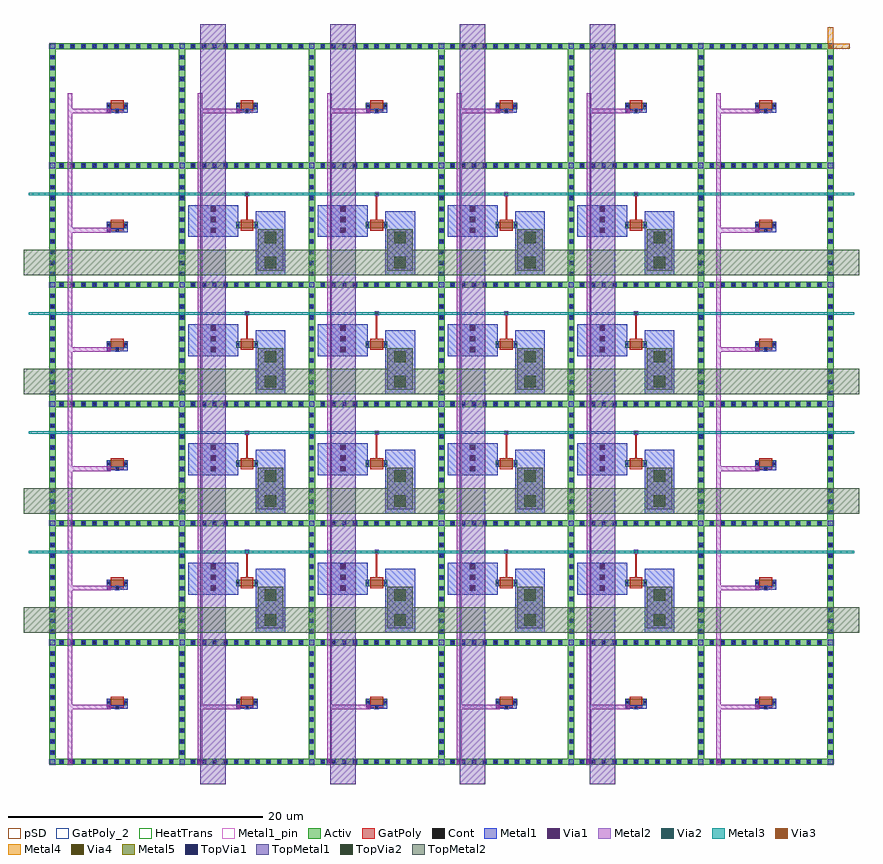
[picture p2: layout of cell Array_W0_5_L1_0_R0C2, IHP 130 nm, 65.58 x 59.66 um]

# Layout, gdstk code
import gdstk
lib = gdstk.Library(unit=1e-6, precision=1e-09)
def R(c, l, rs):  # rectangles x0, y0, x1, y1
    for r in rs: c.add(gdstk.rectangle(r[:2], r[2:], *l))
def A(c, l, x, y, w, h, nx, ny, dx, dy):  # array of equal rectangles
    R(c, l, [(x+i*dx, y+j*dy, x+i*dx+w, y+j*dy+h) for i in range(nx) for j in range(ny)])
Activ = (1, 0)
GatPoly = (5, 0)
GatPoly_2 = (5, 2)
Cont = (6, 0)
Metal1 = (8, 0)
Metal1_pin = (8, 2)
Metal2 = (10, 0)
pSD = (14, 0)
Via1 = (19, 0)
Via2 = (29, 0)
Metal3 = (30, 0)
Via3 = (49, 0)
Metal4 = (50, 0)
HeatTrans = (51, 0)
Via4 = (66, 0)
Metal5 = (67, 0)
TopVia1 = (125, 0)
TopMetal1 = (126, 0)
TopVia2 = (133, 0)
TopMetal2 = (134, 0)

array_w0_5_l1_0_r0c2 = lib.new_cell('Array_W0_5_L1_0_R0C2')
A(array_w0_5_l1_0_r0c2, Activ, 0, 0, 0.5, 56.66, 7, 1, 10.18, 0)
A(array_w0_5_l1_0_r0c2, Activ, 0, 0, 61.58, 0.5, 1, 7, 0, 9.36)
A(array_w0_5_l1_0_r0c2, Activ, 4.5, 4.68, 0.3, 0.3, 1, 6, 0, 9.36)
A(array_w0_5_l1_0_r0c2, Activ, 4.5, 4.68, 1.68, 0.5, 6, 6, 10.18, 9.36)
A(array_w0_5_l1_0_r0c2, Activ, 5.88, 4.68, 0.3, 0.3, 1, 6, 0, 9.36)
A(array_w0_5_l1_0_r0c2, Activ, 14.68, 4.68, 0.3, 0.3, 1, 6, 0, 9.36)
A(array_w0_5_l1_0_r0c2, Activ, 16.06, 4.68, 0.3, 0.3, 1, 6, 0, 9.36)
A(array_w0_5_l1_0_r0c2, Activ, 24.86, 4.68, 0.3, 0.3, 1, 6, 0, 9.36)
A(array_w0_5_l1_0_r0c2, Activ, 26.24, 4.68, 0.3, 0.3, 1, 6, 0, 9.36)
A(array_w0_5_l1_0_r0c2, Activ, 35.04, 4.68, 0.3, 0.3, 1, 6, 0, 9.36)
A(array_w0_5_l1_0_r0c2, Activ, 36.42, 4.68, 0.3, 0.3, 1, 6, 0, 9.36)
A(array_w0_5_l1_0_r0c2, Activ, 45.22, 4.68, 0.3, 0.3, 1, 6, 0, 9.36)
A(array_w0_5_l1_0_r0c2, Activ, 46.6, 4.68, 0.3, 0.3, 1, 6, 0, 9.36)
A(array_w0_5_l1_0_r0c2, Activ, 55.4, 4.68, 0.3, 0.3, 1, 6, 0, 9.36)
A(array_w0_5_l1_0_r0c2, Activ, 56.78, 4.68, 0.3, 0.3, 1, 6, 0, 9.36)
A(array_w0_5_l1_0_r0c2, GatPoly, 4.84, 4.5, 1, 0.86, 6, 6, 10.18, 9.36)
A(array_w0_5_l1_0_r0c2, GatPoly, 5.275, 4.53, 0.13, 0.2, 6, 2, 10.18, 46.8)
A(array_w0_5_l1_0_r0c2, GatPoly, 5.275, 13.89, 0.13, 0.2, 1, 4, 0, 9.36)
A(array_w0_5_l1_0_r0c2, GatPoly, 56.175, 13.89, 0.13, 0.2, 1, 4, 0, 9.36)
A(array_w0_5_l1_0_r0c2, GatPoly, 15.455, 14.72, 0.13, 2, 4, 4, 10.18, 9.36)
A(array_w0_5_l1_0_r0c2, GatPoly_2, 4.84, 4.5, 1, 0.86, 6, 6, 10.18, 9.36)
A(array_w0_5_l1_0_r0c2, Cont, 0.86, 0.14, 0.22, 0.22, 11, 7, 0.86, 9.36)
A(array_w0_5_l1_0_r0c2, Cont, 11.18, 0.14, 0.22, 0.22, 11, 7, 0.846, 9.36)
A(array_w0_5_l1_0_r0c2, Cont, 21.36, 0.14, 0.22, 0.22, 11, 7, 0.846, 9.36)
A(array_w0_5_l1_0_r0c2, Cont, 31.54, 0.14, 0.22, 0.22, 11, 7, 0.846, 9.36)
A(array_w0_5_l1_0_r0c2, Cont, 41.72, 0.14, 0.22, 0.22, 11, 7, 0.846, 9.36)
A(array_w0_5_l1_0_r0c2, Cont, 51.9, 0.14, 0.22, 0.22, 11, 7, 0.846, 9.36)
A(array_w0_5_l1_0_r0c2, Cont, 0.14, 0.864, 0.22, 0.22, 7, 10, 10.18, 0.864)
A(array_w0_5_l1_0_r0c2, Cont, 5.23, 4.42, 0.22, 0.22, 6, 2, 10.18, 46.8)
A(array_w0_5_l1_0_r0c2, Cont, 4.57, 4.85, 0.16, 0.16, 1, 6, 0, 9.36)
A(array_w0_5_l1_0_r0c2, Cont, 5.95, 4.85, 0.16, 0.16, 1, 6, 0, 9.36)
A(array_w0_5_l1_0_r0c2, Cont, 14.75, 4.85, 0.16, 0.16, 1, 6, 0, 9.36)
A(array_w0_5_l1_0_r0c2, Cont, 16.13, 4.85, 0.16, 0.16, 1, 6, 0, 9.36)
A(array_w0_5_l1_0_r0c2, Cont, 24.93, 4.85, 0.16, 0.16, 1, 6, 0, 9.36)
A(array_w0_5_l1_0_r0c2, Cont, 26.31, 4.85, 0.16, 0.16, 1, 6, 0, 9.36)
A(array_w0_5_l1_0_r0c2, Cont, 35.11, 4.85, 0.16, 0.16, 1, 6, 0, 9.36)
A(array_w0_5_l1_0_r0c2, Cont, 36.49, 4.85, 0.16, 0.16, 1, 6, 0, 9.36)
A(array_w0_5_l1_0_r0c2, Cont, 45.29, 4.85, 0.16, 0.16, 1, 6, 0, 9.36)
A(array_w0_5_l1_0_r0c2, Cont, 46.67, 4.85, 0.16, 0.16, 1, 6, 0, 9.36)
A(array_w0_5_l1_0_r0c2, Cont, 55.47, 4.85, 0.16, 0.16, 1, 6, 0, 9.36)
A(array_w0_5_l1_0_r0c2, Cont, 56.85, 4.85, 0.16, 0.16, 1, 6, 0, 9.36)
A(array_w0_5_l1_0_r0c2, Cont, 0.14, 10.36, 0.22, 0.22, 7, 2, 10.18, 0.848)
A(array_w0_5_l1_0_r0c2, Cont, 0.14, 12.057, 0.22, 0.22, 7, 8, 10.18, 0.849)
A(array_w0_5_l1_0_r0c2, Cont, 5.23, 13.78, 0.22, 0.22, 1, 4, 0, 9.36)
A(array_w0_5_l1_0_r0c2, Cont, 56.13, 13.78, 0.22, 0.22, 1, 4, 0, 9.36)
A(array_w0_5_l1_0_r0c2, Cont, 15.41, 16.61, 0.22, 0.22, 4, 4, 10.18, 9.36)
A(array_w0_5_l1_0_r0c2, Cont, 0.14, 19.72, 0.22, 0.22, 7, 2, 10.18, 0.848)
A(array_w0_5_l1_0_r0c2, Cont, 0.14, 21.417, 0.22, 0.22, 7, 8, 10.18, 0.849)
A(array_w0_5_l1_0_r0c2, Cont, 0.14, 29.08, 0.22, 0.22, 7, 2, 10.18, 0.848)
A(array_w0_5_l1_0_r0c2, Cont, 0.14, 30.777, 0.22, 0.22, 7, 8, 10.18, 0.849)
A(array_w0_5_l1_0_r0c2, Cont, 0.14, 38.44, 0.22, 0.22, 7, 2, 10.18, 0.848)
A(array_w0_5_l1_0_r0c2, Cont, 0.14, 40.137, 0.22, 0.22, 7, 8, 10.18, 0.849)
A(array_w0_5_l1_0_r0c2, Cont, 0.14, 47.8, 0.22, 0.22, 7, 2, 10.18, 0.848)
A(array_w0_5_l1_0_r0c2, Cont, 0.14, 49.497, 0.22, 0.22, 7, 8, 10.18, 0.849)
A(array_w0_5_l1_0_r0c2, Metal1, 0.8, 0.08, 0.34, 0.34, 11, 7, 0.86, 9.36)
A(array_w0_5_l1_0_r0c2, Metal1, 11.12, 0.08, 0.34, 0.34, 11, 7, 0.846, 9.36)
A(array_w0_5_l1_0_r0c2, Metal1, 21.3, 0.08, 0.34, 0.34, 11, 7, 0.846, 9.36)
A(array_w0_5_l1_0_r0c2, Metal1, 31.48, 0.08, 0.34, 0.34, 11, 7, 0.846, 9.36)
A(array_w0_5_l1_0_r0c2, Metal1, 41.66, 0.08, 0.34, 0.34, 11, 7, 0.846, 9.36)
A(array_w0_5_l1_0_r0c2, Metal1, 51.84, 0.08, 0.34, 0.34, 11, 7, 0.846, 9.36)
A(array_w0_5_l1_0_r0c2, Metal1, 0.08, 0.804, 0.34, 0.34, 7, 10, 10.18, 0.864)
A(array_w0_5_l1_0_r0c2, Metal1, 5.17, 4.36, 0.34, 0.34, 6, 2, 10.18, 46.8)
A(array_w0_5_l1_0_r0c2, Metal1, 4.51, 4.39, 0.28, 0.68, 1, 6, 0, 9.36)
A(array_w0_5_l1_0_r0c2, Metal1, 4.51, 4.39, 1.66, 0.28, 6, 2, 10.18, 46.8)
A(array_w0_5_l1_0_r0c2, Metal1, 5.89, 4.39, 0.28, 0.68, 1, 6, 0, 9.36)
A(array_w0_5_l1_0_r0c2, Metal1, 55.41, 4.39, 0.28, 0.68, 1, 6, 0, 9.36)
A(array_w0_5_l1_0_r0c2, Metal1, 56.79, 4.39, 0.28, 0.68, 1, 6, 0, 9.36)
A(array_w0_5_l1_0_r0c2, Metal1, 4.57, 4.68, 0.16, 0.5, 1, 6, 0, 9.36)
A(array_w0_5_l1_0_r0c2, Metal1, 5.95, 4.68, 0.16, 0.5, 1, 6, 0, 9.36)
A(array_w0_5_l1_0_r0c2, Metal1, 14.75, 4.68, 0.16, 0.5, 1, 6, 0, 9.36)
A(array_w0_5_l1_0_r0c2, Metal1, 16.13, 4.68, 0.16, 0.5, 1, 6, 0, 9.36)
A(array_w0_5_l1_0_r0c2, Metal1, 24.93, 4.68, 0.16, 0.5, 1, 6, 0, 9.36)
A(array_w0_5_l1_0_r0c2, Metal1, 26.31, 4.68, 0.16, 0.5, 1, 6, 0, 9.36)
A(array_w0_5_l1_0_r0c2, Metal1, 35.11, 4.68, 0.16, 0.5, 1, 6, 0, 9.36)
A(array_w0_5_l1_0_r0c2, Metal1, 36.49, 4.68, 0.16, 0.5, 1, 6, 0, 9.36)
A(array_w0_5_l1_0_r0c2, Metal1, 45.29, 4.68, 0.16, 0.5, 1, 6, 0, 9.36)
A(array_w0_5_l1_0_r0c2, Metal1, 46.67, 4.68, 0.16, 0.5, 1, 6, 0, 9.36)
A(array_w0_5_l1_0_r0c2, Metal1, 55.47, 4.68, 0.16, 0.5, 1, 6, 0, 9.36)
A(array_w0_5_l1_0_r0c2, Metal1, 56.85, 4.68, 0.16, 0.5, 1, 6, 0, 9.36)
A(array_w0_5_l1_0_r0c2, Metal1, 0.05, 9.41, 0.4, 0.4, 7, 6, 10.18, 9.36)
A(array_w0_5_l1_0_r0c2, Metal1, 0.08, 10.3, 0.34, 0.34, 7, 2, 10.18, 0.848)
A(array_w0_5_l1_0_r0c2, Metal1, 16.21, 10.36, 2.32, 5.02, 4, 4, 10.18, 9.36)
A(array_w0_5_l1_0_r0c2, Metal1, 0.08, 11.997, 0.34, 0.34, 7, 8, 10.18, 0.849)
A(array_w0_5_l1_0_r0c2, Metal1, 10.91, 13.371, 3.92, 2.499, 4, 4, 10.18, 9.36)
A(array_w0_5_l1_0_r0c2, Metal1, 5.17, 13.72, 0.34, 0.34, 1, 4, 0, 9.36)
A(array_w0_5_l1_0_r0c2, Metal1, 56.07, 13.72, 0.34, 0.34, 1, 4, 0, 9.36)
A(array_w0_5_l1_0_r0c2, Metal1, 4.51, 13.75, 1.66, 0.28, 1, 4, 0, 9.36)
A(array_w0_5_l1_0_r0c2, Metal1, 55.41, 13.75, 1.66, 0.28, 1, 4, 0, 9.36)
A(array_w0_5_l1_0_r0c2, Metal1, 15.36, 16.56, 0.32, 0.32, 4, 4, 10.18, 9.36)
A(array_w0_5_l1_0_r0c2, Metal1, 0.08, 19.66, 0.34, 0.34, 7, 2, 10.18, 0.848)
A(array_w0_5_l1_0_r0c2, Metal1, 0.08, 21.357, 0.34, 0.34, 7, 8, 10.18, 0.849)
A(array_w0_5_l1_0_r0c2, Metal1, 0.08, 29.02, 0.34, 0.34, 7, 2, 10.18, 0.848)
A(array_w0_5_l1_0_r0c2, Metal1, 0.08, 30.717, 0.34, 0.34, 7, 8, 10.18, 0.849)
A(array_w0_5_l1_0_r0c2, Metal1, 0.08, 38.38, 0.34, 0.34, 7, 2, 10.18, 0.848)
A(array_w0_5_l1_0_r0c2, Metal1, 0.08, 40.077, 0.34, 0.34, 7, 8, 10.18, 0.849)
A(array_w0_5_l1_0_r0c2, Metal1, 0.08, 47.74, 0.34, 0.34, 7, 2, 10.18, 0.848)
A(array_w0_5_l1_0_r0c2, Metal1, 0.08, 49.437, 0.34, 0.34, 7, 8, 10.18, 0.849)
R(array_w0_5_l1_0_r0c2, Metal1, [(0.05,0.05,0.45,0.45), (1.44,0.05,1.84,0.45), (10.23,0.05,10.63,0.45), (11.62,0.05,12.02,0.45), (20.41,0.05,20.81,0.45), (21.8,0.05,22.2,0.45), (30.59,0.05,30.99,0.45), (31.98,0.05,32.38,0.45), (40.77,0.05,41.17,0.45), (42.16,0.05,42.56,0.45), (50.95,0.05,51.35,0.45), (52.34,0.05,52.74,0.45), (61.13,0.05,61.53,0.45), (14.69,4.39,14.97,5.07), (16.07,4.39,16.35,5.07), (24.87,4.39,25.15,5.07), (26.25,4.39,26.53,5.07), (35.05,4.39,35.33,5.07), (36.43,4.39,36.71,5.07), (45.23,4.39,45.51,5.07), (46.61,4.39,46.89,5.07), (14.69,51.19,14.97,51.87), (16.07,51.19,16.35,51.87), (24.87,51.19,25.15,51.87), (26.25,51.19,26.53,51.87), (35.05,51.19,35.33,51.87), (36.43,51.19,36.71,51.87), (45.23,51.19,45.51,51.87), (46.61,51.19,46.89,51.87)])
A(array_w0_5_l1_0_r0c2, Metal1_pin, 4.57, 4.68, 0.16, 0.5, 1, 6, 0, 9.36)
A(array_w0_5_l1_0_r0c2, Metal1_pin, 5.95, 4.68, 0.16, 0.5, 1, 6, 0, 9.36)
A(array_w0_5_l1_0_r0c2, Metal1_pin, 14.75, 4.68, 0.16, 0.5, 1, 6, 0, 9.36)
A(array_w0_5_l1_0_r0c2, Metal1_pin, 16.13, 4.68, 0.16, 0.5, 1, 6, 0, 9.36)
A(array_w0_5_l1_0_r0c2, Metal1_pin, 24.93, 4.68, 0.16, 0.5, 1, 6, 0, 9.36)
A(array_w0_5_l1_0_r0c2, Metal1_pin, 26.31, 4.68, 0.16, 0.5, 1, 6, 0, 9.36)
A(array_w0_5_l1_0_r0c2, Metal1_pin, 35.11, 4.68, 0.16, 0.5, 1, 6, 0, 9.36)
A(array_w0_5_l1_0_r0c2, Metal1_pin, 36.49, 4.68, 0.16, 0.5, 1, 6, 0, 9.36)
A(array_w0_5_l1_0_r0c2, Metal1_pin, 45.29, 4.68, 0.16, 0.5, 1, 6, 0, 9.36)
A(array_w0_5_l1_0_r0c2, Metal1_pin, 46.67, 4.68, 0.16, 0.5, 1, 6, 0, 9.36)
A(array_w0_5_l1_0_r0c2, Metal1_pin, 55.47, 4.68, 0.16, 0.5, 1, 6, 0, 9.36)
A(array_w0_5_l1_0_r0c2, Metal1_pin, 56.85, 4.68, 0.16, 0.5, 1, 6, 0, 9.36)
A(array_w0_5_l1_0_r0c2, Metal2, 1.46, 0.07, 0.36, 52.66, 6, 1, 10.18, 0)
A(array_w0_5_l1_0_r0c2, Metal2, 1.46, 4.35, 3.37, 0.36, 6, 2, 10.18, 46.8)
A(array_w0_5_l1_0_r0c2, Metal2, 17.215, 11.205, 0.31, 0.31, 4, 2, 10.18, 1.96)
A(array_w0_5_l1_0_r0c2, Metal2, 1.46, 13.71, 3.37, 0.36, 1, 4, 0, 9.36)
A(array_w0_5_l1_0_r0c2, Metal2, 52.36, 13.71, 3.37, 0.36, 1, 4, 0, 9.36)
A(array_w0_5_l1_0_r0c2, Metal2, 12.715, 13.735, 0.31, 0.31, 4, 3, 10.18, 0.84)
A(array_w0_5_l1_0_r0c2, Metal2, 15.375, 16.575, 0.29, 0.29, 4, 4, 10.18, 9.36)
A(array_w0_5_l1_0_r0c2, Metal2, 17.215, 20.565, 0.31, 0.31, 4, 2, 10.18, 1.96)
A(array_w0_5_l1_0_r0c2, Metal2, 12.715, 23.095, 0.31, 0.31, 4, 3, 10.18, 0.84)
A(array_w0_5_l1_0_r0c2, Metal2, 17.215, 29.925, 0.31, 0.31, 4, 2, 10.18, 1.96)
A(array_w0_5_l1_0_r0c2, Metal2, 12.715, 32.455, 0.31, 0.31, 4, 3, 10.18, 0.84)
A(array_w0_5_l1_0_r0c2, Metal2, 17.215, 39.285, 0.31, 0.31, 4, 2, 10.18, 1.96)
A(array_w0_5_l1_0_r0c2, Metal2, 12.715, 41.815, 0.31, 0.31, 4, 3, 10.18, 0.84)
R(array_w0_5_l1_0_r0c2, Metal2, [(61.15,56.23,61.51,56.59)])
A(array_w0_5_l1_0_r0c2, pSD, 0, 0, 0.5, 56.66, 7, 1, 10.18, 0)
A(array_w0_5_l1_0_r0c2, pSD, 0, 0, 61.58, 0.5, 1, 7, 0, 9.36)
A(array_w0_5_l1_0_r0c2, Via1, 1.545, 0.155, 0.19, 0.19, 6, 1, 10.18, 0)
A(array_w0_5_l1_0_r0c2, Via1, 4.555, 4.435, 0.19, 0.19, 6, 2, 10.18, 46.8)
A(array_w0_5_l1_0_r0c2, Via1, 17.275, 11.265, 0.19, 0.19, 4, 2, 10.18, 1.96)
A(array_w0_5_l1_0_r0c2, Via1, 4.555, 13.795, 0.19, 0.19, 1, 4, 0, 9.36)
A(array_w0_5_l1_0_r0c2, Via1, 12.775, 13.795, 0.19, 0.19, 4, 3, 10.18, 0.84)
A(array_w0_5_l1_0_r0c2, Via1, 55.455, 13.795, 0.19, 0.19, 1, 4, 0, 9.36)
A(array_w0_5_l1_0_r0c2, Via1, 15.425, 16.625, 0.19, 0.19, 4, 4, 10.18, 9.36)
A(array_w0_5_l1_0_r0c2, Via1, 17.275, 20.625, 0.19, 0.19, 4, 2, 10.18, 1.96)
A(array_w0_5_l1_0_r0c2, Via1, 12.775, 23.155, 0.19, 0.19, 4, 3, 10.18, 0.84)
A(array_w0_5_l1_0_r0c2, Via1, 17.275, 29.985, 0.19, 0.19, 4, 2, 10.18, 1.96)
A(array_w0_5_l1_0_r0c2, Via1, 12.775, 32.515, 0.19, 0.19, 4, 3, 10.18, 0.84)
A(array_w0_5_l1_0_r0c2, Via1, 17.275, 39.345, 0.19, 0.19, 4, 2, 10.18, 1.96)
A(array_w0_5_l1_0_r0c2, Via1, 12.775, 41.875, 0.19, 0.19, 4, 3, 10.18, 0.84)
R(array_w0_5_l1_0_r0c2, Via1, [(61.235,56.315,61.425,56.505)])
A(array_w0_5_l1_0_r0c2, Via2, 17.275, 11.265, 0.19, 0.19, 4, 2, 10.18, 1.96)
A(array_w0_5_l1_0_r0c2, Via2, 12.775, 13.795, 0.19, 0.19, 4, 3, 10.18, 0.84)
A(array_w0_5_l1_0_r0c2, Via2, 15.425, 16.625, 0.19, 0.19, 4, 4, 10.18, 9.36)
A(array_w0_5_l1_0_r0c2, Via2, 17.275, 20.625, 0.19, 0.19, 4, 2, 10.18, 1.96)
A(array_w0_5_l1_0_r0c2, Via2, 12.775, 23.155, 0.19, 0.19, 4, 3, 10.18, 0.84)
A(array_w0_5_l1_0_r0c2, Via2, 17.275, 29.985, 0.19, 0.19, 4, 2, 10.18, 1.96)
A(array_w0_5_l1_0_r0c2, Via2, 12.775, 32.515, 0.19, 0.19, 4, 3, 10.18, 0.84)
A(array_w0_5_l1_0_r0c2, Via2, 17.275, 39.345, 0.19, 0.19, 4, 2, 10.18, 1.96)
A(array_w0_5_l1_0_r0c2, Via2, 12.775, 41.875, 0.19, 0.19, 4, 3, 10.18, 0.84)
R(array_w0_5_l1_0_r0c2, Via2, [(61.235,56.315,61.425,56.505)])
A(array_w0_5_l1_0_r0c2, Metal3, 17.215, 11.205, 0.31, 0.31, 4, 2, 10.18, 1.96)
A(array_w0_5_l1_0_r0c2, Metal3, 12.715, 13.735, 0.31, 0.31, 4, 3, 10.18, 0.84)
A(array_w0_5_l1_0_r0c2, Metal3, -1.6, 16.62, 64.78, 0.2, 1, 4, 0, 9.36)
A(array_w0_5_l1_0_r0c2, Metal3, 15.42, 16.62, 0.2, 0.2, 4, 4, 10.18, 9.36)
A(array_w0_5_l1_0_r0c2, Metal3, 17.215, 20.565, 0.31, 0.31, 4, 2, 10.18, 1.96)
A(array_w0_5_l1_0_r0c2, Metal3, 12.715, 23.095, 0.31, 0.31, 4, 3, 10.18, 0.84)
A(array_w0_5_l1_0_r0c2, Metal3, 17.215, 29.925, 0.31, 0.31, 4, 2, 10.18, 1.96)
A(array_w0_5_l1_0_r0c2, Metal3, 12.715, 32.455, 0.31, 0.31, 4, 3, 10.18, 0.84)
A(array_w0_5_l1_0_r0c2, Metal3, 17.215, 39.285, 0.31, 0.31, 4, 2, 10.18, 1.96)
A(array_w0_5_l1_0_r0c2, Metal3, 12.715, 41.815, 0.31, 0.31, 4, 3, 10.18, 0.84)
R(array_w0_5_l1_0_r0c2, Metal3, [(61.23,56.31,61.43,56.51)])
A(array_w0_5_l1_0_r0c2, Via3, 17.275, 11.265, 0.19, 0.19, 4, 2, 10.18, 1.96)
A(array_w0_5_l1_0_r0c2, Via3, 12.775, 13.795, 0.19, 0.19, 4, 3, 10.18, 0.84)
A(array_w0_5_l1_0_r0c2, Via3, 17.275, 20.625, 0.19, 0.19, 4, 2, 10.18, 1.96)
A(array_w0_5_l1_0_r0c2, Via3, 12.775, 23.155, 0.19, 0.19, 4, 3, 10.18, 0.84)
A(array_w0_5_l1_0_r0c2, Via3, 17.275, 29.985, 0.19, 0.19, 4, 2, 10.18, 1.96)
A(array_w0_5_l1_0_r0c2, Via3, 12.775, 32.515, 0.19, 0.19, 4, 3, 10.18, 0.84)
A(array_w0_5_l1_0_r0c2, Via3, 17.275, 39.345, 0.19, 0.19, 4, 2, 10.18, 1.96)
A(array_w0_5_l1_0_r0c2, Via3, 12.775, 41.875, 0.19, 0.19, 4, 3, 10.18, 0.84)
R(array_w0_5_l1_0_r0c2, Via3, [(61.235,56.315,61.425,56.505)])
A(array_w0_5_l1_0_r0c2, Metal4, 17.215, 11.205, 0.31, 0.31, 4, 2, 10.18, 1.96)
A(array_w0_5_l1_0_r0c2, Metal4, 12.715, 13.735, 0.31, 0.31, 4, 3, 10.18, 0.84)
A(array_w0_5_l1_0_r0c2, Metal4, 17.215, 20.565, 0.31, 0.31, 4, 2, 10.18, 1.96)
A(array_w0_5_l1_0_r0c2, Metal4, 12.715, 23.095, 0.31, 0.31, 4, 3, 10.18, 0.84)
A(array_w0_5_l1_0_r0c2, Metal4, 17.215, 29.925, 0.31, 0.31, 4, 2, 10.18, 1.96)
A(array_w0_5_l1_0_r0c2, Metal4, 12.715, 32.455, 0.31, 0.31, 4, 3, 10.18, 0.84)
A(array_w0_5_l1_0_r0c2, Metal4, 17.215, 39.285, 0.31, 0.31, 4, 2, 10.18, 1.96)
A(array_w0_5_l1_0_r0c2, Metal4, 12.715, 41.815, 0.31, 0.31, 4, 3, 10.18, 0.84)
R(array_w0_5_l1_0_r0c2, Metal4, [(61.13,56.21,62.83,56.61), (61.13,56.21,61.53,57.91)])
A(array_w0_5_l1_0_r0c2, HeatTrans, 4.84, 4.5, 1, 0.86, 6, 6, 10.18, 9.36)
A(array_w0_5_l1_0_r0c2, Via4, 17.275, 11.265, 0.19, 0.19, 4, 2, 10.18, 1.96)
A(array_w0_5_l1_0_r0c2, Via4, 12.775, 13.795, 0.19, 0.19, 4, 3, 10.18, 0.84)
A(array_w0_5_l1_0_r0c2, Via4, 17.275, 20.625, 0.19, 0.19, 4, 2, 10.18, 1.96)
A(array_w0_5_l1_0_r0c2, Via4, 12.775, 23.155, 0.19, 0.19, 4, 3, 10.18, 0.84)
A(array_w0_5_l1_0_r0c2, Via4, 17.275, 29.985, 0.19, 0.19, 4, 2, 10.18, 1.96)
A(array_w0_5_l1_0_r0c2, Via4, 12.775, 32.515, 0.19, 0.19, 4, 3, 10.18, 0.84)
A(array_w0_5_l1_0_r0c2, Via4, 17.275, 39.345, 0.19, 0.19, 4, 2, 10.18, 1.96)
A(array_w0_5_l1_0_r0c2, Via4, 12.775, 41.875, 0.19, 0.19, 4, 3, 10.18, 0.84)
A(array_w0_5_l1_0_r0c2, Metal5, 17.215, 11.205, 0.31, 0.31, 4, 2, 10.18, 1.96)
A(array_w0_5_l1_0_r0c2, Metal5, 12.715, 13.735, 0.31, 0.31, 4, 3, 10.18, 0.84)
A(array_w0_5_l1_0_r0c2, Metal5, 17.215, 20.565, 0.31, 0.31, 4, 2, 10.18, 1.96)
A(array_w0_5_l1_0_r0c2, Metal5, 12.715, 23.095, 0.31, 0.31, 4, 3, 10.18, 0.84)
A(array_w0_5_l1_0_r0c2, Metal5, 17.215, 29.925, 0.31, 0.31, 4, 2, 10.18, 1.96)
A(array_w0_5_l1_0_r0c2, Metal5, 12.715, 32.455, 0.31, 0.31, 4, 3, 10.18, 0.84)
A(array_w0_5_l1_0_r0c2, Metal5, 17.215, 39.285, 0.31, 0.31, 4, 2, 10.18, 1.96)
A(array_w0_5_l1_0_r0c2, Metal5, 12.715, 41.815, 0.31, 0.31, 4, 3, 10.18, 0.84)
A(array_w0_5_l1_0_r0c2, TopVia1, 17.16, 11.15, 0.42, 0.42, 4, 2, 10.18, 1.96)
A(array_w0_5_l1_0_r0c2, TopVia1, 12.66, 13.68, 0.42, 0.42, 4, 3, 10.18, 0.84)
A(array_w0_5_l1_0_r0c2, TopVia1, 17.16, 20.51, 0.42, 0.42, 4, 2, 10.18, 1.96)
A(array_w0_5_l1_0_r0c2, TopVia1, 12.66, 23.04, 0.42, 0.42, 4, 3, 10.18, 0.84)
A(array_w0_5_l1_0_r0c2, TopVia1, 17.16, 29.87, 0.42, 0.42, 4, 2, 10.18, 1.96)
A(array_w0_5_l1_0_r0c2, TopVia1, 12.66, 32.4, 0.42, 0.42, 4, 3, 10.18, 0.84)
A(array_w0_5_l1_0_r0c2, TopVia1, 17.16, 39.23, 0.42, 0.42, 4, 2, 10.18, 1.96)
A(array_w0_5_l1_0_r0c2, TopVia1, 12.66, 41.76, 0.42, 0.42, 4, 3, 10.18, 0.84)
A(array_w0_5_l1_0_r0c2, TopMetal1, 11.87, -1.5, 2, 59.66, 4, 1, 10.18, 0)
A(array_w0_5_l1_0_r0c2, TopMetal1, 16.37, 10.71, 2, 3.26, 4, 4, 10.18, 9.36)
A(array_w0_5_l1_0_r0c2, TopMetal1, 11.87, 13.58, 2, 2.3, 4, 4, 10.18, 9.36)
A(array_w0_5_l1_0_r0c2, TopVia2, 16.92, 10.91, 0.9, 0.9, 4, 2, 10.18, 1.96)
A(array_w0_5_l1_0_r0c2, TopVia2, 16.92, 20.27, 0.9, 0.9, 4, 2, 10.18, 1.96)
A(array_w0_5_l1_0_r0c2, TopVia2, 16.92, 29.63, 0.9, 0.9, 4, 2, 10.18, 1.96)
A(array_w0_5_l1_0_r0c2, TopVia2, 16.92, 38.99, 0.9, 0.9, 4, 2, 10.18, 1.96)
A(array_w0_5_l1_0_r0c2, TopMetal2, -2, 10.36, 65.58, 2, 1, 4, 0, 9.36)
A(array_w0_5_l1_0_r0c2, TopMetal2, 16.37, 10.71, 2, 3.26, 4, 4, 10.18, 9.36)

lib.write_gds('Array_W0_5_L1_0_R0C2.gds')
